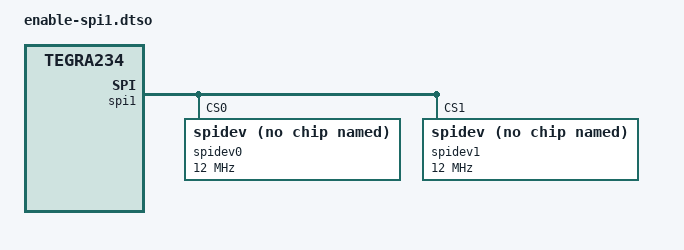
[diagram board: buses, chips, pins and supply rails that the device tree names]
// SPDX-License-Identifier: GPL-2.0
/*
 * Device Tree Overlay: Enable SPI1 on Jetson Orin
 *
 * Description: This overlay enables SPI1 controller on the 40-pin expansion header
 *              Configures clock frequency, chip selects, and pinmux settings
 * Target: NVIDIA Jetson Orin (tegra234)
 *
 * Usage:
 *   1. Compile: dtc -@ -I dts -O dtb -o enable-spi1.dtbo enable-spi1.dtso
 *   2. Apply: Add to /boot/extlinux/extlinux.conf
 *      FDTOVERLAYS /boot/overlays/enable-spi1.dtbo
 *
 * Hardware Requirements:
 *   - Jetson Orin 40-pin header
 *   - SPI peripheral device (sensors, displays, flash, etc.)
 *
 * Pin Assignments:
 *   - Pin 19 (GPIO10): SPI1_MOSI (Master Out Slave In)
 *   - Pin 21 (GPIO09): SPI1_MISO (Master In Slave Out)
 *   - Pin 23 (GPIO11): SPI1_SCK  (Serial Clock)
 *   - Pin 24 (GPIO08): SPI1_CS0  (Chip Select 0)
 *   - Pin 26 (GPIO07): SPI1_CS1  (Chip Select 1 - Optional)
 *
 * After loading:
 *   - Devices appear as /dev/spidev1.0 and /dev/spidev1.1
 *   - Default clock: 12 MHz
 *   - SPI Mode: 0 (CPOL=0, CPHA=0)
 */

/dts-v1/;
/plugin/;

/ {
    /* Compatible string for Jetson Orin platforms */
    compatible = "nvidia,p3768-0000+p3767-0000", "nvidia,tegra234";

    /*
     * Fragment 0: Configure pinmux for SPI1 MOSI
     * Sets GPIO10 (Pin 19) to SPI1_MOSI function
     */
    fragment@0 {
        target = <&pinmux>;
        __overlay__ {
            spi1_mosi_pz5 {
                nvidia,pins = "spi1_mosi_pz5";
                nvidia,function = "spi1";
                nvidia,pull = <0>;  /* TEGRA_PIN_PULL_NONE */
                nvidia,tristate = <0>;  /* TEGRA_PIN_DISABLE */
                nvidia,enable-input = <1>;  /* TEGRA_PIN_ENABLE - bidirectional */
            };
        };
    };

    /*
     * Fragment 1: Configure pinmux for SPI1 MISO
     * Sets GPIO09 (Pin 21) to SPI1_MISO function
     */
    fragment@1 {
        target = <&pinmux>;
        __overlay__ {
            spi1_miso_pz4 {
                nvidia,pins = "spi1_miso_pz4";
                nvidia,function = "spi1";
                nvidia,pull = <1>;  /* TEGRA_PIN_PULL_DOWN */
                nvidia,tristate = <1>;  /* TEGRA_PIN_ENABLE */
                nvidia,enable-input = <1>;  /* TEGRA_PIN_ENABLE */
            };
        };
    };

    /*
     * Fragment 2: Configure pinmux for SPI1 SCK
     * Sets GPIO11 (Pin 23) to SPI1_SCK function
     */
    fragment@2 {
        target = <&pinmux>;
        __overlay__ {
            spi1_sck_pz3 {
                nvidia,pins = "spi1_sck_pz3";
                nvidia,function = "spi1";
                nvidia,pull = <0>;  /* TEGRA_PIN_PULL_NONE */
                nvidia,tristate = <0>;  /* TEGRA_PIN_DISABLE */
                nvidia,enable-input = <1>;  /* TEGRA_PIN_ENABLE */
            };
        };
    };

    /*
     * Fragment 3: Configure pinmux for SPI1 CS0
     * Sets GPIO08 (Pin 24) to SPI1_CS0 function
     */
    fragment@3 {
        target = <&pinmux>;
        __overlay__ {
            spi1_cs0_pz6 {
                nvidia,pins = "spi1_cs0_pz6";
                nvidia,function = "spi1";
                nvidia,pull = <2>;  /* TEGRA_PIN_PULL_UP */
                nvidia,tristate = <0>;  /* TEGRA_PIN_DISABLE */
                nvidia,enable-input = <1>;  /* TEGRA_PIN_ENABLE */
            };
        };
    };

    /*
     * Fragment 4: Configure pinmux for SPI1 CS1
     * Sets GPIO07 (Pin 26) to SPI1_CS1 function
     */
    fragment@4 {
        target = <&pinmux>;
        __overlay__ {
            spi1_cs1_pz7 {
                nvidia,pins = "spi1_cs1_pz7";
                nvidia,function = "spi1";
                nvidia,pull = <2>;  /* TEGRA_PIN_PULL_UP */
                nvidia,tristate = <0>;  /* TEGRA_PIN_DISABLE */
                nvidia,enable-input = <1>;  /* TEGRA_PIN_ENABLE */
            };
        };
    };

    /*
     * Fragment 5: Enable and configure SPI1 controller
     * This is the main SPI device configuration
     */
    fragment@5 {
        target = <&spi1>;
        __overlay__ {
            /* Enable the SPI device */
            status = "okay";

            /* SPI bus properties */
            #address-cells = <1>;
            #size-cells = <0>;

            /*
             * SPI controller clock frequency
             * Maximum: 65 MHz for Tegra234
             * Default: 12 MHz for compatibility
             */
            spi-max-frequency = <12000000>;  /* 12 MHz */

            /*
             * Number of chip selects available
             */
            num-cs = <2>;

            /*
             * Compatible string for driver matching
             */
            compatible = "nvidia,tegra234-spi";

            /*
             * SPI Device 0 on CS0 (Generic spidev for userspace access)
             * Remove this and add specific device if using a real SPI peripheral
             */
            spidev0: spidev@0 {
                compatible = "rohm,dh2228fv";  /* Generic spidev compatible */
                reg = <0>;  /* Chip select 0 */
                spi-max-frequency = <12000000>;  /* 12 MHz */

                /*
                 * SPI mode configuration:
                 * Mode 0: CPOL=0, CPHA=0 (default)
                 * Mode 1: CPOL=0, CPHA=1
                 * Mode 2: CPOL=1, CPHA=0
                 * Mode 3: CPOL=1, CPHA=1
                 */
                spi-cpol;  /* Uncomment for CPOL=1 */
                /* spi-cpha; */  /* Uncomment for CPHA=1 */

                /*
                 * Chip select polarity
                 * Default: active low
                 */
                /* spi-cs-high; */  /* Uncomment for active high CS */

                /*
                 * Bits per word (usually 8)
                 */
                spi-bits-per-word = <8>;
            };

            /*
             * SPI Device 1 on CS1 (Generic spidev for userspace access)
             * Remove this and add specific device if using a real SPI peripheral
             */
            spidev1: spidev@1 {
                compatible = "rohm,dh2228fv";  /* Generic spidev compatible */
                reg = <1>;  /* Chip select 1 */
                spi-max-frequency = <12000000>;  /* 12 MHz */
                spi-bits-per-word = <8>;
            };

            /*
             * Example: Replace spidev with a real SPI device
             * Uncomment and modify for your specific hardware
             */
            /*
            spi_flash: flash@0 {
                compatible = "jedec,spi-nor";
                reg = <0>;
                spi-max-frequency = <25000000>;
                m25p,fast-read;

                partitions {
                    compatible = "fixed-partitions";
                    #address-cells = <1>;
                    #size-cells = <1>;

                    partition@0 {
                        label = "bootloader";
                        reg = <0x0 0x100000>;
                        read-only;
                    };

                    partition@100000 {
                        label = "data";
                        reg = <0x100000 0xf00000>;
                    };
                };
            };
            */
        };
    };
};

/*
 * Testing the SPI:
 * ================
 *
 * 1. Check devices exist:
 *    ls -l /dev/spidev1.*
 *    # Should show /dev/spidev1.0 and /dev/spidev1.1
 *
 * 2. Verify SPI controller:
 *    cat /sys/class/spi_master/spi1/device/modalias
 *
 * 3. Test with spidev_test (kernel tools):
 *    # Loopback test (connect MOSI to MISO)
 *    /usr/bin/spidev_test -D /dev/spidev1.0 -v -s 1000000
 *
 * 4. Python example using spidev:
 *    import spidev
 *    spi = spidev.SpiDev()
 *    spi.open(1, 0)  # bus 1, device 0
 *    spi.max_speed_hz = 1000000
 *    spi.mode = 0
 *
 *    # Send and receive data
 *    data = [0x01, 0x02, 0x03]
 *    response = spi.xfer2(data)
 *    spi.close()
 *
 * 5. C example:
 *    #include <linux/spi/spidev.h>
 *    int fd = open("/dev/spidev1.0", O_RDWR);
 *
 *    uint8_t mode = SPI_MODE_0;
 *    ioctl(fd, SPI_IOC_WR_MODE, &mode);
 *
 *    uint32_t speed = 1000000;
 *    ioctl(fd, SPI_IOC_WR_MAX_SPEED_HZ, &speed);
 *
 *    uint8_t tx[] = {0x01, 0x02, 0x03};
 *    uint8_t rx[sizeof(tx)] = {0};
 *
 *    struct spi_ioc_transfer tr = {
 *        .tx_buf = (unsigned long)tx,
 *        .rx_buf = (unsigned long)rx,
 *        .len = sizeof(tx),
 *        .speed_hz = speed,
 *    };
 *
 *    ioctl(fd, SPI_IOC_MESSAGE(1), &tr);
 *    close(fd);
 *
 * Common SPI Devices:
 * ===================
 *
 * 1. SPI NOR Flash (W25Q128):
 *    - Compatible: "winbond,w25q128", "jedec,spi-nor"
 *    - Speed: up to 104 MHz
 *    - Used for: Firmware storage, data logging
 *
 * 2. SPI LCD Display (ILI9341):
 *    - Compatible: "ilitek,ili9341"
 *    - Speed: up to 10 MHz
 *    - Used for: User interface
 *
 * 3. ADC (MCP3008):
 *    - Compatible: "microchip,mcp3008"
 *    - Speed: up to 3.6 MHz
 *    - Used for: Analog sensor reading
 *
 * 4. RFID Reader (RC522):
 *    - Compatible: "nxp,mfrc522"
 *    - Speed: up to 10 MHz
 *    - Used for: Card/tag reading
 *
 * Troubleshooting:
 * ===============
 *
 * 1. Devices not appearing:
 *    dmesg | grep -i spi
 *    dmesg | grep spi1
 *
 * 2. Check pinmux configuration:
 *    cat /sys/kernel/debug/pinctrl/2430000.pinmux/pinmux-pins | grep spi1
 *
 * 3. Verify SPI is enabled:
 *    cat /sys/firmware/devicetree/base/spi@3210000/status
 *    # Should show "okay"
 *
 * 4. Check permissions:
 *    sudo chmod 666 /dev/spidev1.*
 *    # Or add user to spi group
 *    sudo groupadd spi
 *    sudo usermod -a -G spi $USER
 *
 * 5. Clock speed issues:
 *    # If communication fails, try lower speeds
 *    # Some devices don't work at high frequencies
 *    # Start at 1 MHz and increase gradually
 *
 * 6. SPI mode mismatch:
 *    # Verify device datasheet for correct mode
 *    # Try different modes if data is corrupted
 *
 * 7. Loopback test:
 *    # Connect MOSI (Pin 19) to MISO (Pin 21)
 *    # Should receive what was transmitted
 */
